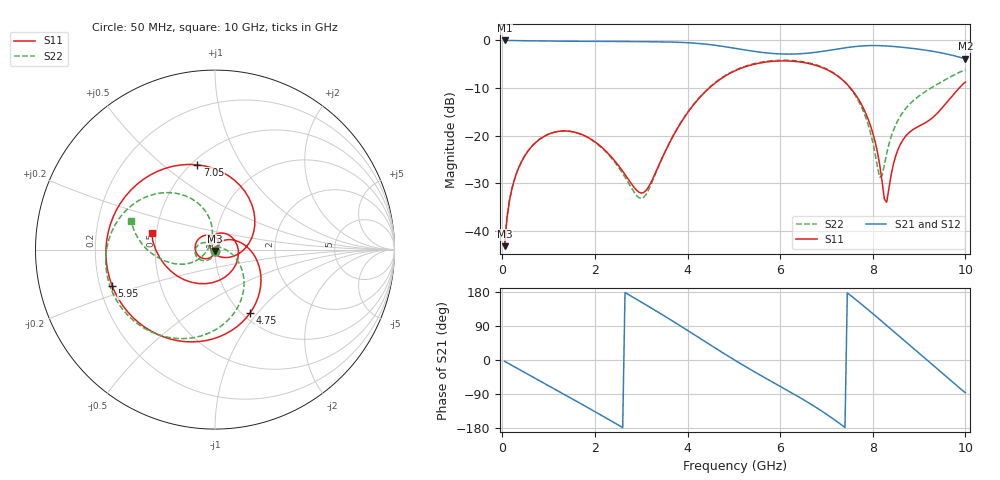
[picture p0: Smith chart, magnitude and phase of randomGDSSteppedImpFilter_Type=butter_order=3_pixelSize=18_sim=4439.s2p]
! freq	dB(S11)	phase(S11)	dB(S12)	phase(S12)
!  dB(S21)	phase(S21)	dB(S22)	phase(S22)
!S-par simulation data
#  GHz  S  DB  R 50
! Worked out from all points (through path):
!   200 points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, 50 MHz to 10 GHz, reference 50 ohm
!   highest |S21| = -0.01 dB at 50 MHz (marker M1); lowest = -3.8 dB at 10 GHz (marker M2)
!   group delay of S21, straight-line fit = 218 ps
!   lowest |S11| = -43.2 dB at 50 MHz (marker M3), VSWR 1.01, Z = 50 - j0.693 ohm
!   |S11| at or under -10 dB: start of sweep to 4.467 GHz; 7.518 GHz to 9.865 GHz (2.347 GHz wide, 27 % of centre)
!   |S22| runs from -43.2 to -4.2 dB; largest |S21 - S12| = 0
!   S11 on the Smith chart (normalised r, x): 50 MHz: 1.00, -0.01; 4.75 GHz: 1.08, -0.92; 5.95 GHz: 0.25, -0.16; 7.05 GHz: 0.54, +0.66; 10 GHz: 0.47, +0.10
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0.05  -43.19 -88.8  -0.01 -3.5  -0.01 -3.5  -43.17 -88.0
0.2  -31.47 -104.4  -0.03 -13.7  -0.03 -13.7  -31.45 -101.1
0.55  -23.31 -132.2  -0.07 -37.5  -0.07 -37.5  -23.29 -123.1
1.15  -19.21 -179.0  -0.15 -78.1  -0.15 -78.1  -19.21 -158.4
1.75  -19.88 132.0  -0.19 -119.0  -0.19 -119.0  -19.93 168.7
2.6  -27.46 57.3  -0.23 -178.3  -0.23 -178.3  -27.94 125.0
3  -32.03 49.5  -0.26 153.0  -0.26 153.0  -33.18 69.1
3.4  -25.80 54.8  -0.30 123.7  -0.30 123.7  -25.82 4.3
4.05  -14.52 1.9  -0.51 74.3  -0.51 74.3  -14.43 -37.4
4.75  -7.86 -61.2  -1.24 19.9  -1.24 19.9  -7.77 -81.5
5.05  -6.27 -87.1  -1.71 -2.7  -1.71 -2.7  -6.16 -100.4
5.95  -4.33 -160.5  -2.82 -66.0  -2.82 -66.0  -4.19 -153.1
6.7  -5.04 135.8  -2.58 -119.3  -2.58 -119.3  -4.90 164.6
7.05  -6.33 101.7  -2.09 -147.2  -2.09 -147.2  -6.22 143.7
7.7  -12.49 24.7  -1.21 152.9  -1.21 152.9  -12.88 104.7
8.15  -26.12 -54.4  -1.10 106.8  -1.10 106.8  -28.73 142.0
8.25  -33.28 -108.5  -1.14 96.4  -1.14 96.4  -26.14 -166.9
8.35  -30.98 160.6  -1.20 86.0  -1.20 86.0  -21.75 -152.1
8.6  -21.74 91.0  -1.40 59.9  -1.40 59.9  -15.82 -152.0
9.15  -17.20 -24.2  -2.06 2.1  -2.06 2.1  -10.65 -168.3
9.6  -12.98 -125.8  -2.86 -45.4  -2.86 -45.4  -8.07 177.5
10  -8.74 165.3  -3.84 -86.5  -3.84 -86.5  -6.16 161.2
